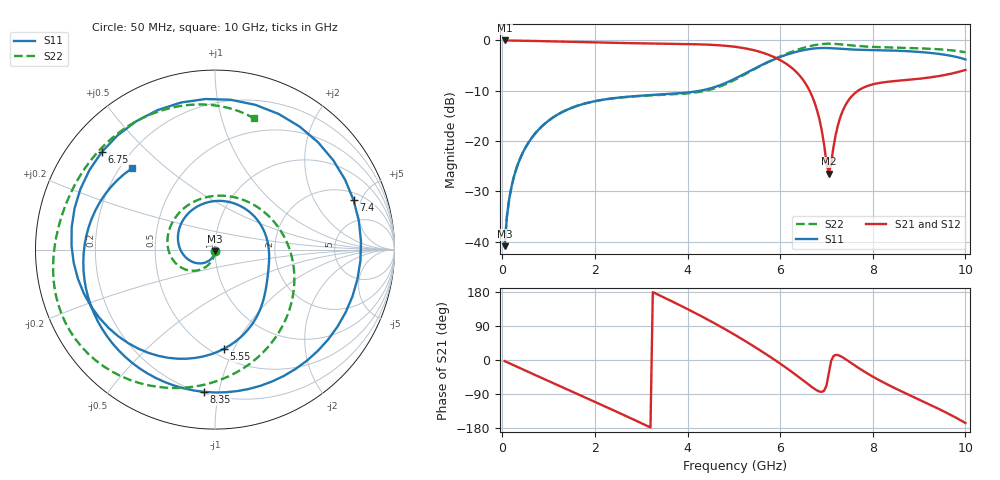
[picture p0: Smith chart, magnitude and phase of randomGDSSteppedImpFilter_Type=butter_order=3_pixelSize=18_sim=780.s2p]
! freq	dB(S11)	phase(S11)	dB(S12)	phase(S12)
!  dB(S21)	phase(S21)	dB(S22)	phase(S22)
!S-par simulation data
#  GHz  S  DB  R 50
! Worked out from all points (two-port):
!   200 points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, 50 MHz to 10 GHz, reference 50 ohm
!   highest |S21| = -0.01 dB at 50 MHz (marker M1); lowest = -26.5 dB at 7.05 GHz (marker M2)
!   |S21| within 3 dB of the highest: start of sweep to 5.792 GHz
!   lowest |S11| = -40.9 dB at 50 MHz (marker M3), VSWR 1.02, Z = 50 - j0.9 ohm
!   |S11| at or under -10 dB: start of sweep to 4.27 GHz
!   |S22| runs from -40.9 to -0.7 dB; largest |S21 - S12| = 0
!   S11 on the Smith chart (normalised r, x): 50 MHz: 1.00, -0.02; 5.55 GHz: 0.57, -0.92; 6.75 GHz: 0.10, +0.37; 7.4 GHz: 2.57, +4.31; 8.35 GHz: 0.21, -0.90; 10 GHz: 0.25, +0.39
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0.05  -40.90 -92.3  -0.01 -2.8  -0.01 -2.8  -40.88 -90.9
0.2  -29.04 -103.8  -0.02 -11.2  -0.02 -11.2  -29.02 -98.5
0.5  -21.32 -125.1  -0.07 -27.9  -0.07 -27.9  -21.30 -111.8
1.15  -14.99 -170.6  -0.22 -63.9  -0.22 -63.9  -14.98 -138.7
1.75  -12.63 146.7  -0.36 -96.8  -0.36 -96.8  -12.63 -161.9
2.65  -11.24 80.7  -0.52 -146.7  -0.52 -146.7  -11.27 164.6
3.4  -10.76 28.3  -0.63 170.4  -0.63 170.4  -10.85 131.5
4.35  -9.85 -22.9  -0.81 112.2  -0.81 112.2  -10.08 66.7
5.05  -7.48 -54.1  -1.29 64.4  -1.29 64.4  -7.69 1.5
5.55  -5.12 -84.8  -2.24 26.9  -2.24 26.9  -5.19 -43.7
6.15  -2.81 -138.2  -4.76 -22.3  -4.76 -22.3  -2.60 -91.2
6.45  -2.04 -174.7  -7.31 -49.4  -7.31 -49.4  -1.63 -112.8
6.7  -1.64 147.6  -11.30 -72.6  -11.30 -72.6  -1.01 -130.3
6.75  -1.59 139.2  -12.52 -76.8  -12.52 -76.8  -0.92 -133.8
7.05  -1.52 84.0  -26.49 -35.4  -26.49 -35.4  -0.65 -154.1
7.4  -1.73 19.6  -13.05 3.2  -13.05 3.2  -0.86 -174.7
7.6  -1.82 -11.8  -10.59 -13.4  -10.59 -13.4  -1.04 175.4
7.85  -1.89 -44.5  -9.18 -33.1  -9.18 -33.1  -1.21 164.2
8.35  -1.99 -94.3  -8.19 -66.7  -8.19 -66.7  -1.40 143.3
9.2  -2.44 -159.4  -7.40 -116.0  -7.40 -116.0  -1.64 108.2
9.6  -2.91 170.1  -6.79 -139.7  -6.79 -139.7  -1.88 91.2
10  -3.78 135.7  -5.87 -166.3  -5.87 -166.3  -2.35 73.5
